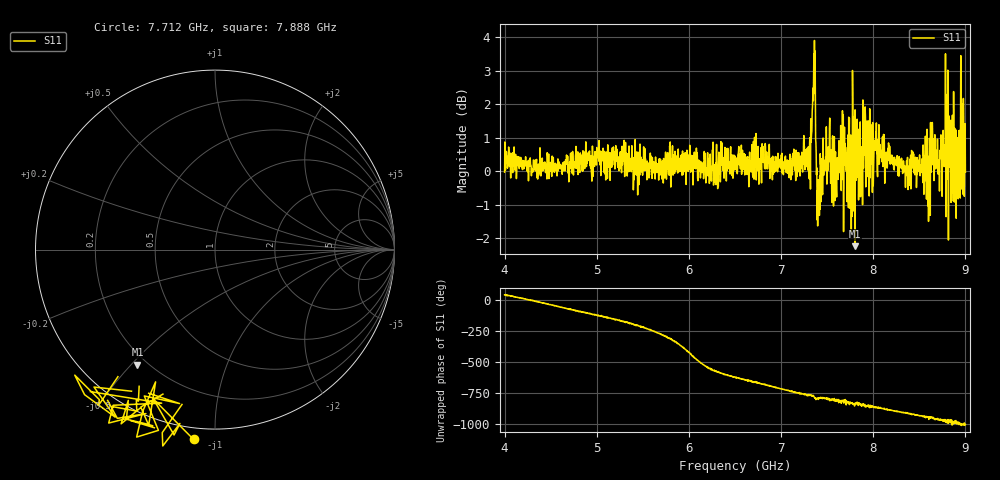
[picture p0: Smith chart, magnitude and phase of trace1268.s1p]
! Created with skrf 1.8.0 (http://scikit-rf.org).
# Hz S RI R 50.0
!freq ReS11 ImS11
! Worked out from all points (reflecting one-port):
!   1601 points, 4 GHz to 9 GHz, reference 50 ohm
!   lowest |S11| = -2.2 dB at 7.8 GHz (marker M1), VSWR 7.80, Z = 8.19 - j26 ohm
!   phase of S11 starts at 45 deg and turns -1052 deg over the sweep
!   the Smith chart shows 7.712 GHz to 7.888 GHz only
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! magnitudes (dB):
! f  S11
! 4 GHz  0.0
! 4.625 GHz  -0.1
! 5.25 GHz  0.1
! 5.875 GHz  0.4
! 6.5 GHz  0.3
! 7.125 GHz  0.5
! 7.294 GHz  0.0
! 7.316 GHz  0.3
! 7.347 GHz  2.5
! 7.362 GHz  3.9
! 7.397 GHz  -1.6
! 7.409 GHz  -1.3
! 7.509 GHz  0.0
! 7.559 GHz  1.1
! 7.65 GHz  0.2
! 7.75 GHz  -0.9
! 7.769 GHz  -0.3
! 7.8 GHz  -2.2
! 8.009 GHz  0.7
! 8.375 GHz  0.0
! 8.566 GHz  1.0
! 8.594 GHz  -1.0
! 8.647 GHz  0.2
! 8.728 GHz  0.4
! 8.803 GHz  -0.2
! 8.9 GHz  -1.4
! 8.972 GHz  0.7
! 9 GHz  0.0
